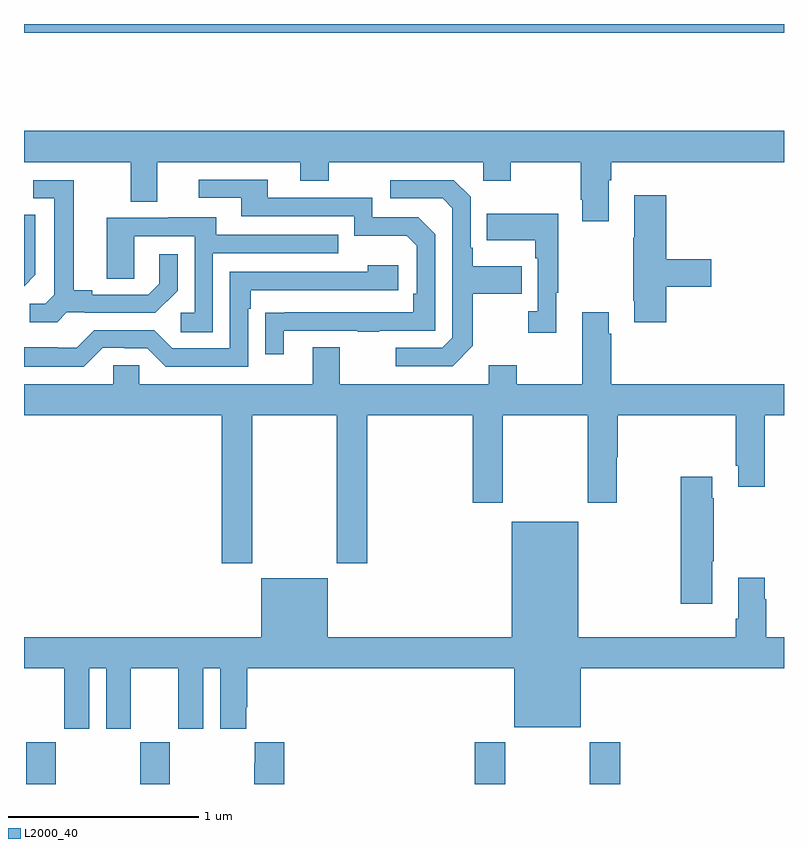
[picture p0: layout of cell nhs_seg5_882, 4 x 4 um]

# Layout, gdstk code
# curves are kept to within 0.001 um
import gdstk
lib = gdstk.Library(unit=1e-6, precision=1e-09)
def R(c, l, rs):  # rectangles x0, y0, x1, y1
    for r in rs: c.add(gdstk.rectangle(r[:2], r[2:], *l))
def P(c, l, *ps):  # polygons
    for p in ps: c.add(gdstk.Polygon(p, *l))
L2000_40 = (2000, 40)

nhs_seg5_882 = lib.new_cell('nhs_seg5_882')
R(nhs_seg5_882, L2000_40, [(167.011,874.799,167.166,875.02), (167.611,874.799,167.766,875.02), (169.373,874.799,169.533,875.02), (169.978,874.799,170.138,875.02), (167,878.752,171,878.799)])
P(nhs_seg5_882, L2000_40, [(170.077,877.976),(170.09,877.976),(170.09,878.072),(171,878.072),(171,878.236),(167,878.236),(167,878.072),(167.561,878.072),(167.561,877.864),(167.701,877.864),(167.701,878.072),(168.455,878.072),(168.455,877.973),(168.603,877.973),(168.603,878.072),(169.416,878.072),(169.416,877.973),(169.563,877.973),(169.563,878.072),(169.93,878.072),(169.93,877.873),(169.937,877.873),(169.937,877.761),(170.077,877.761)],
  [(168.367,877.185),(168.757,877.185),(168.757,877.18),(168.869,877.18),(168.869,877.185),(169.164,877.185),(169.164,877.692),(169.074,877.782),(168.834,877.782),(168.834,877.884),(168.283,877.884),(168.283,877.98),(167.919,877.98),(167.919,877.884),(168.143,877.884),(168.143,877.788),(168.738,877.788),(168.738,877.685),(169.015,877.685),(169.068,877.632),(169.068,877.378),(169.048,877.378),(169.048,877.281),(168.271,877.28),(168.271,877.062),(168.367,877.062)],
  [(169.363,877.105),(169.363,877.378),(169.619,877.378),(169.619,877.525),(169.363,877.525),(169.363,877.621),(169.35,877.621),(169.35,877.89),(169.263,877.977),(168.927,877.977),(168.927,877.881),(169.203,877.881),(169.254,877.83),(169.254,877.149),(169.2,877.095),(168.957,877.095),(168.957,876.999),(169.257,876.999)],
  [(167.226,877.281),(167.32,877.281),(167.32,877.278),(167.692,877.278),(167.808,877.394),(167.808,877.588),(167.711,877.588),(167.711,877.431),(167.654,877.374),(167.359,877.374),(167.359,877.397),(167.263,877.397),(167.263,877.977),(167.049,877.977),(167.049,877.881),(167.159,877.881),(167.159,877.373),(167.112,877.326),(167.031,877.326),(167.031,877.229),(167.174,877.229)],
  [(170.381,877.415),(170.617,877.415),(170.617,877.562),(170.381,877.562),(170.381,877.897),(170.213,877.897),(170.213,877.673),(170.206,877.673),(170.206,877.342),(170.213,877.342),(170.213,877.23),(170.381,877.23)],
  [(169.801,877.385),(169.813,877.385),(169.813,877.801),(169.435,877.801),(169.435,877.661),(169.692,877.661),(169.692,877.565),(169.704,877.565),(169.704,877.286),(169.653,877.286),(169.653,877.173),(169.801,877.173)],
  [(167.058,877.478),(167.058,877.796),(167,877.796),(167,877.42)],
  [(167.994,877.593),(168.653,877.593),(168.653,877.689),(168.013,877.689),(168.013,877.783),(167.759,877.783),(167.759,877.779),(167.435,877.779),(167.435,877.459),(167.58,877.459),(167.58,877.683),(167.898,877.683),(167.898,877.278),(167.826,877.278),(167.826,877.177),(167.994,877.177)],
  [(167.415,877.095),(167.531,877.095),(167.531,877.092),(167.649,877.092),(167.745,876.996),(168.18,876.996),(168.18,877.301),(168.193,877.301),(168.193,877.398),(168.97,877.398),(168.97,877.528),(168.809,877.528),(168.809,877.494),(168.084,877.494),(168.084,877.092),(167.781,877.092),(167.685,877.188),(167.37,877.188),(167.277,877.095),(167.177,877.095),(167.177,877.099),(167,877.099),(167,876.995),(167.315,876.995)],
  [(168.201,876.74),(168.646,876.74),(168.646,875.961),(168.806,875.961),(168.806,876.74),(169.361,876.74),(169.361,876.279),(169.521,876.279),(169.521,876.74),(169.966,876.74),(169.966,876.279),(170.121,876.279),(170.121,876.518),(170.126,876.518),(170.126,876.74),(170.747,876.74),(170.747,876.475),(170.759,876.475),(170.759,876.363),(170.899,876.363),(170.899,876.74),(171,876.74),(171,876.904),(170.09,876.904),(170.09,877.169),(170.077,877.169),(170.077,877.282),(169.937,877.282),(169.937,876.904),(169.593,876.904),(169.593,877.003),(169.445,877.003),(169.445,876.904),(168.661,876.904),(168.661,877.099),(168.521,877.099),(168.521,876.904),(167.607,876.904),(167.607,877.002),(167.469,877.002),(167.469,876.904),(167,876.904),(167,876.74),(168.041,876.74),(168.041,875.961),(168.201,875.961)],
  [(170.623,875.971),(170.631,875.971),(170.631,876.302),(170.623,876.302),(170.623,876.415),(170.456,876.415),(170.456,875.748),(170.623,875.748)],
  [(170.759,875.884),(170.759,875.668),(170.747,875.668),(170.747,875.572),(169.918,875.572),(169.918,876.178),(169.568,876.178),(169.568,875.572),(168.598,875.572),(168.598,875.881),(168.248,875.881),(168.248,875.572),(167,875.572),(167,875.408),(167.213,875.408),(167.213,875.091),(167.344,875.091),(167.344,875.408),(167.432,875.408),(167.432,875.091),(167.563,875.091),(167.563,875.408),(167.813,875.408),(167.813,875.091),(167.944,875.091),(167.944,875.408),(168.032,875.408),(168.032,875.091),(168.169,875.091),(168.169,875.203),(168.176,875.203),(168.176,875.408),(169.58,875.408),(169.58,875.099),(169.93,875.099),(169.93,875.408),(171,875.408),(171,875.572),(170.907,875.572),(170.907,875.771),(170.899,875.771),(170.899,875.884)],
  [(168.371,875.02),(168.215,875.02),(168.215,874.907),(168.211,874.907),(168.211,874.799),(168.371,874.799)])

lib.write_gds('nhs_seg5_882.gds')
